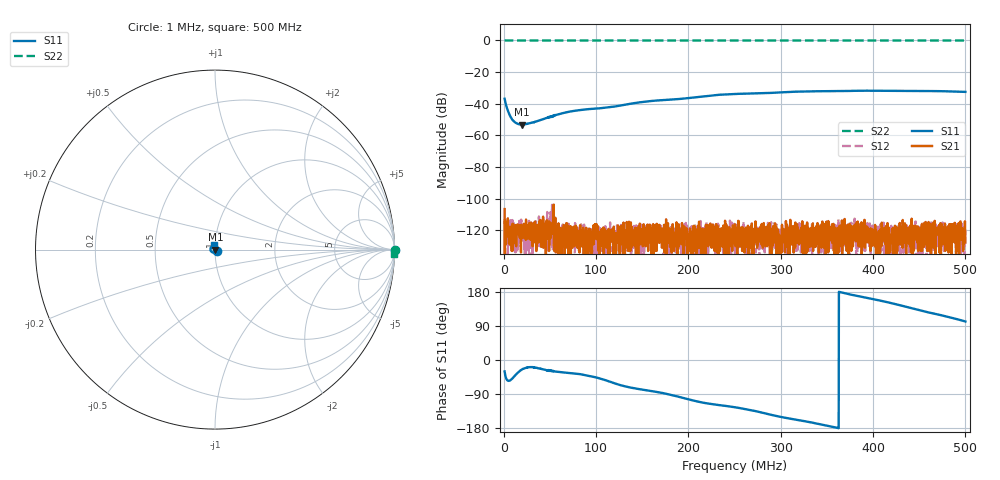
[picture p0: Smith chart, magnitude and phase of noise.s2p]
! MS46122B
! 1746301/73750021
! 11/3/2023 2:19:07 PM
! C:\USERS\SPEGWAL\DOWNLOADS\SAURABH\REACH\NODES\FRONT END\MEASUREMENTS\MEASURED S-PARAMETERS_03-11-2023\MS3-MS4_MS1_CABLE\NOISE_SOURCE_S11.S2P
! CHANNEL.1
! TR.MEASUREMENT
! CORRECTED.DATA
# GHZ S RI R 50.0
! FREQ.GHZ  S11RE  S11IM  S21RE  S21IM  S12RE  S12IM  S22RE  S22IM
!; PortSelection: Port_12
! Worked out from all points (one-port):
!   2001 points, 1 MHz to 500 MHz, reference 50 ohm
!   lowest |S11| = -53.1 dB at 19.46 MHz (marker M1), VSWR 1.00, Z = 50.2 - j0.095 ohm
!   |S11| at or under -10 dB: start of sweep to end of sweep
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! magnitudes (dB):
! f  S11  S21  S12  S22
! 1 MHz  -36.8  -106.5  -112.8  0.0
! 2.497 MHz  -40.6  -128.9  -118.3  0.0
! 5.74 MHz  -46.2  -118.4  -131.0  0.0
! 7.487 MHz  -48.3  -119.1  -123.5  0.0
! 9.233 MHz  -50.0  -130.5  -125.4  0.0
! 11.48 MHz  -51.3  -127.4  -125.4  0.0
! 13.97 MHz  -52.3  -119.0  -123.0  0.0
! 19.46 MHz  -53.1  -124.7  -120.0  0.0
! 23.95 MHz  -52.8  -126.0  -140.0  0.0
! 32.19 MHz  -51.7  -121.9  -122.4  0.0
! 64.87 MHz  -45.8  -125.9  -119.1  0.0
! 84.33 MHz  -43.8  -127.0  -119.6  0.0
! 114.5 MHz  -42.2  -121.4  -122.8  0.0
! 146.5 MHz  -39.2  -123.0  -140.0  0.0
! 167.4 MHz  -37.9  -119.5  -122.8  0.0
! 194.6 MHz  -36.7  -133.0  -119.7  0.0
! 231 MHz  -34.4  -134.0  -123.9  0.0
! 250.5 MHz  -33.8  -116.1  -140.0  0.0
! 333.8 MHz  -32.1  -130.0  -116.1  0.0
! 416.9 MHz  -31.8  -120.7  -119.1  0.0
! 469.8 MHz  -32.0  -118.4  -124.0  0.0
! 500 MHz  -32.5  -127.7  -120.5  0.0
